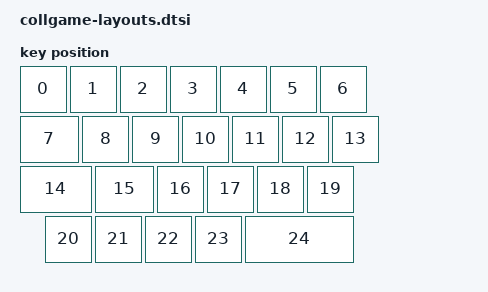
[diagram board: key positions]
#include <physical_layouts.dtsi>

/ {
    physical_layout0: physical_layout {
        compatible = "zmk,physical-layout";
        display-name = "Default";

        keys  //                     w   h    x    y     rot    rx    ry
            = <&key_physical_attrs 100 100    0    0       0     0     0>
            , <&key_physical_attrs 100 100  100    0       0     0     0>
            , <&key_physical_attrs 100 100  200    0       0     0     0>
            , <&key_physical_attrs 100 100  300    0       0     0     0>
            , <&key_physical_attrs 100 100  400    0       0     0     0>
            , <&key_physical_attrs 100 100  500    0       0     0     0>
            , <&key_physical_attrs 100 100  600    0       0     0     0>

            , <&key_physical_attrs 125 100    0  100       0     0     0>
            , <&key_physical_attrs 100 100  125  100       0     0     0>
            , <&key_physical_attrs 100 100  225  100       0     0     0>
            , <&key_physical_attrs 100 100  325  100       0     0     0>
            , <&key_physical_attrs 100 100  425  100       0     0     0>
            , <&key_physical_attrs 100 100  525  100       0     0     0>
            , <&key_physical_attrs 100 100  625  100       0     0     0>

            , <&key_physical_attrs 150 100    0  200       0     0     0>
            , <&key_physical_attrs 125 100  150  200       0     0     0>
            , <&key_physical_attrs 100 100  275  200       0     0     0>
            , <&key_physical_attrs 100 100  375  200       0     0     0>
            , <&key_physical_attrs 100 100  475  200       0     0     0>
            , <&key_physical_attrs 100 100  575  200       0     0     0>

            , <&key_physical_attrs 100 100   50  300       0     0     0>
            , <&key_physical_attrs 100 100  150  300       0     0     0>
            , <&key_physical_attrs 100 100  250  300       0     0     0>
            , <&key_physical_attrs 100 100  350  300       0     0     0>
            , <&key_physical_attrs 225 100  450  300       0     0     0>
            ;
    };
};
